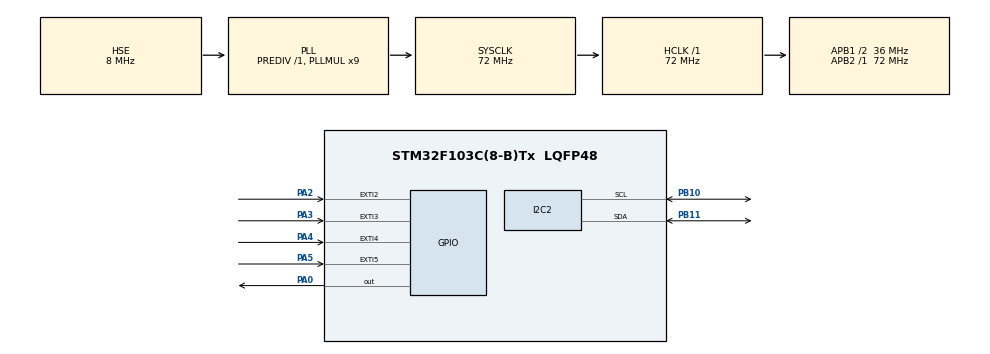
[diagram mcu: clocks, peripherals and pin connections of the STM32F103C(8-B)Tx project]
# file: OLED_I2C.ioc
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I2C2.I2C_Mode=I2C_Fast
Mcu.Family=STM32F1
Mcu.Name=STM32F103C(8-B)Tx
Mcu.Package=LQFP48
NVIC.EXTI2_IRQn=true\:2\:0\:true\:false\:true\:true\:true
NVIC.EXTI3_IRQn=true\:2\:0\:true\:false\:true\:true\:true
NVIC.EXTI4_IRQn=true\:2\:0\:true\:false\:true\:true\:true
NVIC.EXTI9_5_IRQn=true\:2\:0\:true\:false\:true\:true\:true
NVIC.PriorityGroup=NVIC_PRIORITYGROUP_4
NVIC.TIM3_IRQn=true\:3\:0\:true\:false\:true\:true\:true
PA0-WKUP.GPIO_Speed=GPIO_SPEED_FREQ_LOW
PA0-WKUP.PinState=GPIO_PIN_SET
PA0-WKUP.Signal=GPIO_Output
PA13.Mode=Serial_Wire
PA13.Signal=SYS_JTMS-SWDIO
PA14.Mode=Serial_Wire
PA14.Signal=SYS_JTCK-SWCLK
PA2.GPIO_ModeDefaultEXTI=GPIO_MODE_IT_FALLING
PA2.GPIO_PuPd=GPIO_PULLUP
PA2.Signal=GPXTI2
PA3.GPIO_ModeDefaultEXTI=GPIO_MODE_IT_FALLING
PA3.GPIO_PuPd=GPIO_PULLUP
PA3.Signal=GPXTI3
PA4.GPIO_ModeDefaultEXTI=GPIO_MODE_IT_FALLING
PA4.GPIO_PuPd=GPIO_PULLUP
PA4.Signal=GPXTI4
PA5.GPIO_ModeDefaultEXTI=GPIO_MODE_IT_FALLING
PA5.GPIO_PuPd=GPIO_PULLUP
PA5.Signal=GPXTI5
PB10.Mode=I2C
PB10.Signal=I2C2_SCL
PB11.Mode=I2C
PB11.Signal=I2C2_SDA
PD0-OSC_IN.Mode=HSE-External-Oscillator
PD0-OSC_IN.Signal=RCC_OSC_IN
PD1-OSC_OUT.Mode=HSE-External-Oscillator
PD1-OSC_OUT.Signal=RCC_OSC_OUT
ProjectManager.HeapSize=0x200
ProjectManager.StackSize=0x400
ProjectManager.TargetToolchain=MDK-ARM V5.27
RCC.AHBFreq_Value=72000000
RCC.APB1CLKDivider=RCC_HCLK_DIV2
RCC.APB1Freq_Value=36000000
RCC.APB1TimFreq_Value=72000000
RCC.APB2Freq_Value=72000000
RCC.APB2TimFreq_Value=72000000
RCC.HCLKFreq_Value=72000000
RCC.PLLMUL=RCC_PLL_MUL9
RCC.PLLSourceVirtual=RCC_PLLSOURCE_HSE
RCC.SYSCLKFreq_VALUE=72000000
RCC.SYSCLKSource=RCC_SYSCLKSOURCE_PLLCLK
RCC.USBFreq_Value=72000000
TIM3.Period=2499
TIM3.Prescaler=7199
VP_TIM3_VS_ClockSourceINT.Mode=Internal
board=custom

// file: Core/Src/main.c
/* USER CODE BEGIN Header */
/**
  ******************************************************************************
  * @file           : main.c
  * @brief          : Main program body
  ******************************************************************************
  * @attention
  *
  * <h2><center>&copy; Copyright (c) 2021 STMicroelectronics.
  * All rights reserved.</center></h2>
  *
  * This software component is licensed by ST under BSD 3-Clause license,
  * the "License"; You may not use this file except in compliance with the
  * License. You may obtain a copy of the License at:
  *                        opensource.org/licenses/BSD-3-Clause
  *
  ******************************************************************************
  */
/* USER CODE END Header */
#include "main.h"

/* USER CODE BEGIN Includes */
#include<stdio.h>
#include <stdbool.h>
#include <string.h>
#include "fonts.h"
#include "ssd1306.h"
#include "test.h"
#include "music_icon.h"
#include "flash.h"
#define ADDRESS_DATA_STORAGE (0x800FC00)  //address page 64

/* USER CODE END Includes */

I2C_HandleTypeDef hi2c2;

TIM_HandleTypeDef htim3;

void SystemClock_Config(void);
static void MX_GPIO_Init(void);
static void MX_I2C2_Init(void);
static void MX_TIM3_Init(void);
/* USER CODE BEGIN PFP */

void randomPrey();
void predatorDraw();
void predatorClear();
void preyDraw();
void preyClear();
/* System */
/* Function read and write array uint16_t */
void Flash_Write_Array_Uint16(uint32_t address, uint16_t *arr, uint16_t lenght){
	HAL_FLASH_Unlock();
	uint16_t *pt = arr;  //moi lan lay 2 byte trong arr
	for(uint16_t i=0; i<(lenght+1); i++){
		/* float = 4 bytes == word */
		HAL_FLASH_Program(FLASH_TYPEPROGRAM_HALFWORD,address + 2*i,*pt);
		pt++;  //moi lan cong dia chi pt dich 16 bit
	}
	HAL_FLASH_Lock();
}
void Flash_Read_Array_Uint16(uint32_t address, uint16_t *arr,uint16_t lenght){
	uint16_t *pt = arr;
	for(uint16_t i=0; i<(lenght+1); i++){
		*pt = *(__IO uint16_t *)(address+2*i);
		pt++;
	}
}

/* USER CODE END PFP */

/* USER CODE BEGIN 0 */

int test = 0;
/* Setup */
static uint32_t timeBellBegin=0;
static uint32_t timeCur=0;
int areaEdge_x[2]={0,128};  //diem cuc bien theo truc x
int areaEdge_y[2]={16,64};  //diem cuc bien theo truc y
int level = 1;  //mac dinh
char str_level[2];
uint8_t sound_status = 0;  // 0:OFF|1:ON
uint8_t type_setup = 0;  // 0:level | 1:sound |

/* variable user */
uint16_t user_score = 0;
char str_user_score[5];
uint8_t userStart = 0;  //0-chua bat dau|1-batdau|2-che do setup
uint8_t gameStatus = 0;  //trang thai game: 1-hoat dong|0-k hoat dong
uint16_t top_user_score[5];

/* variable predator */
int predator_x = 25;
int predator_y = 30;
uint8_t predator_direct = 1; // 1:left|2:right|3:up|4:down
uint8_t predator_mount = 0;  //1: dong mom|0: mo mom
const uint8_t predator_size = 6;
/* end variable predator */

/* variable prey */
int prey_x = 32;
int prey_y = 52;
int prey_x_arr[20]={20,5,10,50,30,70,60,80,40,90,20,100,10,50,30,70,60,80,40,90};
int prey_y_arr[20]={20,30,50,40,25,40,50,20,35,45,20,35,50,40,25,40,50,20,35,45};
/* end variable prey */

/* function general */
void showLevel(){
	SSD1306_GotoXY(72,20);
	sprintf(str_level, "%d", level);
	SSD1306_Puts(str_level,&Font_7x10,1);
	SSD1306_UpdateScreen();  //display
}

void showSoundStatus(){
	SSD1306_GotoXY(72,35);
	if(sound_status) SSD1306_Puts("ON ",&Font_7x10,1);
	else SSD1306_Puts("OFF",&Font_7x10,1);
	SSD1306_UpdateScreen();  //display
}

void initGame(){
	/* Setup GAME */
	user_score = 0;
	predator_x = 32;
	predator_y = 52;
	predator_direct = 1;
	predator_mount = 0;
	prey_x = 32;
	prey_y = 52;
	Flash_Read_Array_Uint16(ADDRESS_DATA_STORAGE, top_user_score, 5);  //get pre-score

	/* Introduce GAME */
	SSD1306_GotoXY(0,0);
	SSD1306_Puts("Predator",&Font_11x18,1);
	SSD1306_GotoXY(11,20);
	SSD1306_Puts("GAME",&Font_16x26,1);
	SSD1306_GotoXY(0,50);
	SSD1306_Puts("made by DxHwg",&Font_7x10,1);
	SSD1306_UpdateScreen();  //display
	/* Scroll */
	while(userStart==0){
		SSD1306_ScrollRight(0x00,0x0f);  //scroll entire screen
		HAL_Delay(1500);
		SSD1306_ScrollLeft(0x00,0x0f);  //scroll entire screen
		HAL_Delay(1500);
	}
	SSD1306_Stopscroll();
	SSD1306_Clear();

	/* Setup mode */
	SSD1306_GotoXY(0,0);
	SSD1306_Puts("SETUP MODE",&Font_11x18,1);
	SSD1306_GotoXY(0,20);
	SSD1306_Puts("Level: ",&Font_7x10,1);
	showLevel();
	SSD1306_GotoXY(0,35);
	SSD1306_Puts("Sound: ",&Font_7x10,1);
	showSoundStatus();
	/* Point level  */
	SSD1306_DrawFilledCircle(100,20, 2 ,1);
	SSD1306_UpdateScreen();  //display
	while(userStart==2){
		HAL_Delay(1);  //Phai co delay (Nhung k hieu tai sao)
	}  //Che do setup
	SSD1306_Clear();

	/* Init GAME */
	SSD1306_GotoXY(0,0);
	SSD1306_Puts("Score: ",&Font_11x18,1);
	SSD1306_GotoXY(72,0);
	sprintf(str_user_score, "%d", user_score);
	SSD1306_Puts(str_user_score,&Font_11x18,1);
	/* Ve duong bao */
	SSD1306_DrawLine(areaEdge_x[0], areaEdge_y[0], areaEdge_x[1],  areaEdge_y[0], 1);  //edge top
	SSD1306_DrawLine(areaEdge_x[0], areaEdge_y[0], areaEdge_x[0],  areaEdge_y[1], 1);  //edge left
	SSD1306_DrawLine(areaEdge_x[0], areaEdge_y[1], areaEdge_x[1],  areaEdge_y[1], 1);  //edge bottom
	SSD1306_DrawLine(areaEdge_x[1], areaEdge_y[0], areaEdge_x[1],  areaEdge_y[1], 1);	 //edge right
	SSD1306_UpdateScreen();  // display
	/* Game bat dau */
	gameStatus = 1;
}

void renderScreen(){
	predatorClear();
	preyClear();
	/* Show score */
	SSD1306_GotoXY(70,0);
	sprintf(str_user_score, "%d", user_score);
	SSD1306_Puts(str_user_score,&Font_11x18,1);
	SSD1306_DrawLine(0,15, 128, 15, 1);
	/* draw predator */
	predatorDraw();
	/* draw prey */
	preyDraw();
	SSD1306_UpdateScreen();  //display
}

void sortUserScore(){
	if(user_score>top_user_score[0]){
		for(int i=1;i<5;i++){
			top_user_score[i]=top_user_score[i-1];
		}
		top_user_score[0]=user_score;
	}else if(user_score>top_user_score[1]){
		for(int i=2;i<5;i++){
			top_user_score[i]=top_user_score[i-1];
		}
		top_user_score[1]=user_score;
	}else if(user_score>top_user_score[2]){
		for(int i=3;i<5;i++){
			top_user_score[i]=top_user_score[i-1];
		}
		top_user_score[2]=user_score;
	}else if(user_score>top_user_score[3]){
		for(int i=4;i<5;i++){
			top_user_score[i]=top_user_score[i-1];
		}
		top_user_score[3]=user_score;
	}else if(user_score>top_user_score[4]){
		top_user_score[4]=user_score;
	}
}

void gameOver(){
	/* Hieu ung va thong bao game over */
	SSD1306_Clear();
	SSD1306_GotoXY(0,0);
	SSD1306_Puts("Score: ",&Font_11x18,1);
	SSD1306_GotoXY(72,0);
	sprintf(str_user_score, "%d", user_score);
	SSD1306_Puts(str_user_score,&Font_11x18,1);

	SSD1306_GotoXY(11,16);
	SSD1306_Puts("GAME",&Font_11x18,1);
	SSD1306_GotoXY(11,38);
	SSD1306_Puts("OVER",&Font_11x18,1);
	SSD1306_UpdateScreen();  //display

	sortUserScore();  //sap xep score user
	Flash_Write_Array_Uint16(ADDRESS_DATA_STORAGE,top_user_score,5);  //luu vao flash
	HAL_Delay(3000);
	SSD1306_Clear();

	/* Hien thi top user */
	SSD1306_GotoXY(0,0);
	SSD1306_Puts("Top score: ",&Font_11x18,1);
	for(int i=0; i<5;i++){
		SSD1306_GotoXY(0,18+10*i+1);
		sprintf(str_user_score, "%d", i+1);
		SSD1306_Puts(str_user_score,&Font_7x10,1);
		SSD1306_Puts("->",&Font_7x10,1);
		SSD1306_GotoXY(15,18+10*i+1);
		sprintf(str_user_score, "%d", (int)top_user_score[i]);
		SSD1306_Puts(str_user_score,&Font_7x10,1);
	}
	SSD1306_UpdateScreen();  //display
	HAL_Delay(5000);
	SSD1306_Clear();

	/* game ket thuc */
	gameStatus = 0;
	userStart = 0;
	user_score = 0;
	/* Khoi tao lai game */
	initGame();
}

/* Use bell:
	bellTingTing();
*/
void bellTingTing(){
	timeCur= HAL_GetTick();
	timeBellBegin = timeCur;
	HAL_GPIO_WritePin(GPIOA, GPIO_PIN_0,GPIO_PIN_RESET);  //turn on
}
void bellTingTingWait(){
	timeCur= HAL_GetTick();
	if((timeCur-timeBellBegin)>=300) HAL_GPIO_WritePin(GPIOA, GPIO_PIN_0,GPIO_PIN_SET);  //turn off
}

/* Change period TIM3 */
static void changePeriodTIM3(int t)
{
  TIM_ClockConfigTypeDef sClockSourceConfig = {0};
  TIM_MasterConfigTypeDef sMasterConfig = {0};

  htim3.Instance = TIM3;
  htim3.Init.Prescaler = 7199;
  htim3.Init.CounterMode = TIM_COUNTERMODE_UP;
  htim3.Init.Period = t;
  htim3.Init.ClockDivision = TIM_CLOCKDIVISION_DIV1;
  htim3.Init.AutoReloadPreload = TIM_AUTORELOAD_PRELOAD_DISABLE;
  if (HAL_TIM_Base_Init(&htim3) != HAL_OK)
  {
    Error_Handler();
  }
  sClockSourceConfig.ClockSource = TIM_CLOCKSOURCE_INTERNAL;
  if (HAL_TIM_ConfigClockSource(&htim3, &sClockSourceConfig) != HAL_OK)
  {
    Error_Handler();
  }
  sMasterConfig.MasterOutputTrigger = TIM_TRGO_RESET;
  sMasterConfig.MasterSlaveMode = TIM_MASTERSLAVEMODE_DISABLE;
  if (HAL_TIMEx_MasterConfigSynchronization(&htim3, &sMasterConfig) != HAL_OK)
  {
    Error_Handler();
  }
}

/* Setup Plus */
void setupPlus(){  //button left
	if(type_setup==0) {
		/* level */
		if(level==5) {
				level=1;
				showLevel();
			}
		else {
			level++;
			showLevel();
		}
		changePeriodTIM3(2499-level*400);
	}
	else if(type_setup==1) {
		/* sound */
		sound_status = 1-sound_status;
		showSoundStatus();
	}
}
void setupReduce(){  //button right
	if(type_setup==0) {
		/* level */
		if(level==0) {
				level=5;
				showLevel();
			}
		else {
			level--;
			showLevel();
		}
		changePeriodTIM3(2499-level*400);
	}
	else if(type_setup==1) {
		/* sound */
		sound_status = 1-sound_status;
		showSoundStatus();
	}
}
void changeSetupType(){  //button down
	if(type_setup==0) {
		type_setup=1;
		/* clear Point level  */
		SSD1306_DrawFilledCircle(100,20, 2 ,0);
		/* Point sound */
		SSD1306_DrawFilledCircle(100,35, 2 ,1);
	}
	else if(type_setup==1) {
		type_setup=0;
		/* clear Point sound */
		SSD1306_DrawFilledCircle(100,35, 2 ,0);
		/* Point level  */
		SSD1306_DrawFilledCircle(100,20, 2 ,1);
	}
	SSD1306_UpdateScreen();  //display
}

/* end function general */

/* function prey */
void preyDraw(){
	/* draw prey */
	SSD1306_DrawFilledCircle(prey_x,prey_y, 1 ,1);
}

void preyClear(){
	/* draw prey */
	SSD1306_DrawFilledCircle(prey_x,prey_y, 1 ,0);
}

void randomPrey(){
	preyClear();  //clear truoc khi random
	prey_x = prey_x_arr[user_score];
	prey_y = prey_y_arr[user_score];
}

/* end function prey */

/* function predator */
void  predatorDraw(){
	if(predator_direct == 1){
		/* Left */
		/* Phan than */
		SSD1306_DrawFilledRectangle(predator_x-predator_size/2, predator_y-predator_size/2, predator_size, predator_size, 1);
		/* Phan mom */
		SSD1306_DrawLine(predator_x-predator_size/2, predator_y-1, predator_x,  predator_y-1, predator_mount);
		SSD1306_DrawLine(predator_x-predator_size/2, predator_y, predator_x,  predator_y, predator_mount);
		SSD1306_DrawLine(predator_x-predator_size/2, predator_y+1, predator_x,  predator_y+1, predator_mount);
		SSD1306_DrawLine(predator_x-predator_size/2, predator_y+2, predator_x,  predator_y+2, predator_mount);
	}else if(predator_direct == 2){
		/* Right */
		/* Phan than */
		SSD1306_DrawFilledRectangle(predator_x-predator_size/2, predator_y-predator_size/2, predator_size, predator_size, 1);
		/* Phan mom */
		SSD1306_DrawLine(predator_x, predator_y-1, predator_x+predator_size/2,  predator_y-1, predator_mount);
		SSD1306_DrawLine(predator_x, predator_y, predator_x+predator_size/2,  predator_y, predator_mount);
		SSD1306_DrawLine(predator_x, predator_y+1, predator_x+predator_size/2,  predator_y+1, predator_mount);
		SSD1306_DrawLine(predator_x, predator_y+2, predator_x+predator_size/2,  predator_y+2, predator_mount);
	}else if(predator_direct == 3){
		/* Up */
		/* Phan than */
		SSD1306_DrawFilledRectangle(predator_x-predator_size/2, predator_y-predator_size/2, predator_size, predator_size, 1);
		/* Phan mom */
		SSD1306_DrawLine(predator_x-1, predator_y, predator_x-1,  predator_y-predator_size/2, predator_mount);
		SSD1306_DrawLine(predator_x, predator_y, predator_x,  predator_y-predator_size/2, predator_mount);
		SSD1306_DrawLine(predator_x+1, predator_y, predator_x+1,  predator_y-predator_size/2, predator_mount);
		SSD1306_DrawLine(predator_x+2, predator_y, predator_x+2,  predator_y-predator_size/2, predator_mount);
	}else if(predator_direct == 4){
		/* Down */
		/* Phan than */
		SSD1306_DrawFilledRectangle(predator_x-predator_size/2, predator_y-predator_size/2, predator_size, predator_size, 1);
		/* Phan mom */
		SSD1306_DrawLine(predator_x-1, predator_y, predator_x-1,  predator_y+predator_size/2, predator_mount);
		SSD1306_DrawLine(predator_x, predator_y, predator_x,  predator_y+predator_size/2, predator_mount);
		SSD1306_DrawLine(predator_x+1, predator_y, predator_x+1,  predator_y+predator_size/2, predator_mount);
		SSD1306_DrawLine(predator_x+2, predator_y, predator_x+2,  predator_y+predator_size/2, predator_mount);
	}
}

void  predatorClear(){
	SSD1306_DrawFilledRectangle(predator_x-predator_size/2, predator_y-predator_size/2, predator_size, predator_size, 0);
}

void  predatorMove(){
	predatorClear();  //truoc khi di chuyen phai xoa di da
	if(predator_direct == 1){
		/* Left */
		predator_x--;
	}else if(predator_direct == 2){
		/* Right */
		predator_x++;
	}else if(predator_direct == 3){
		/* Right */
		predator_y--;
	}else if(predator_direct == 4){
		/* Down */
		predator_y++;
	}
}

void toggleMount(){
	predator_mount = 1-predator_mount;
}

/* Kiem tra vuot bien */
bool checkAcrossEdge(){
	if((predator_x==areaEdge_x[0])||(predator_x==areaEdge_x[1])||(predator_y==areaEdge_y[0])||(predator_y==areaEdge_y[1])){
		return true;
	}
	return false;
}

/* Check xem predator da eat prey chua? */
bool checkEating(){
	int delta_x = predator_x-prey_x;
	int delta_y = predator_y-prey_y;
	if(predator_direct == 1){
		/* Left */
		if(delta_x<=2){
			if((delta_y>=-2)&&(delta_y<=2)){
				return true;
			}else return false;
		}else return false;
	}else if(predator_direct == 2){
		/* Right */
		if(delta_x>=-2){
			if((delta_y<=2)&&(delta_y>=-2)){
				return true;
			}else return false;
		}else return false;
	}else if(predator_direct == 3){
		/* Up */
		if(delta_y<=2){
			if((delta_x>=-2)&&(delta_x<=2)){
				return true;
			}else return false;
		}else return false;
	}else if(predator_direct == 4){
		/* Down */
		if(delta_y>=-2){
			if((delta_x>=-2)&&(delta_x<=2)){
				return true;
			}else return false;
		}else return false;
	}else return false;
}
/* end function predator */

/* Ngat ngoai: ok */
void HAL_GPIO_EXTI_Callback(uint16_t GPIO_Pin)
{
  UNUSED(GPIO_Pin);
	if(userStart==0) {
		userStart=2;  //che do setup
	}else if(userStart==2) {  //setup xong
		if(GPIO_Pin == GPIO_PIN_2){
			/* Left - Plus */
			setupPlus();
		}else if(GPIO_Pin == GPIO_PIN_3){
			/* Right - Reduce */
			setupReduce();
		}else if(GPIO_Pin == GPIO_PIN_4){
			/* Up - OK */
			userStart=1; //cho game bat dau
		}else if(GPIO_Pin == GPIO_PIN_5){
			/* Down - change type setup */
			changeSetupType();
		}
	}else if(userStart==1) {
		if(GPIO_Pin == GPIO_PIN_2){
			/* Left */
			predator_direct = 1;
		}else if(GPIO_Pin == GPIO_PIN_3){
			/* Right */
			predator_direct = 2;
		}else if(GPIO_Pin == GPIO_PIN_4){
			/* Up */
			predator_direct = 3;
		}else if(GPIO_Pin == GPIO_PIN_5){
			/* Down */
			predator_direct = 4;
		}
	}
}
/* end ngat ngoai */

/* Ngat timer */
void HAL_TIM_PeriodElapsedCallback(TIM_HandleTypeDef *htim){
	UNUSED(htim);
	if(htim->Instance == htim3.Instance){
		/* Neu da bat dau */
		if(gameStatus){
			toggleMount();
			predatorMove();
			/* Kiem tra xem da vuot qua cuc bien chua? */
			if(checkAcrossEdge()){
				/* Neu da vuot qua bien */
				gameOver();
			}else{
				/* Kiem tra xem prey da bi eat chua? */
				if(checkEating()){
					/* Neu da bi eat */
					user_score++;  //tang score
					bellTingTing();  //ting ting bell
					randomPrey();
				}
				renderScreen();
			}
		}
	}
}
/* end ngat timer */

/* USER CODE END 0 */

int main(void)
{

  /* MCU Configuration--------------------------------------------------------*/

  /* Reset of all peripherals, Initializes the Flash interface and the Systick. */
  HAL_Init();

  /* Configure the system clock */
  SystemClock_Config();

  /* Initialize all configured peripherals */
  MX_GPIO_Init();
  MX_I2C2_Init();
  MX_TIM3_Init();
  /* USER CODE BEGIN 2 */

	/* Start IT */
	HAL_TIM_Base_Start_IT(&htim3);
	/* Init LCD */
	SSD1306_Init();
	initGame();
	renderScreen();

  /* USER CODE END 2 */

  /* Infinite loop */
  while (1)
  {

    /* USER CODE BEGIN 3 */

		/* Setup timeout bell */
		bellTingTingWait();
  }
  /* USER CODE END 3 */
}

void SystemClock_Config(void)
{
  RCC_OscInitTypeDef RCC_OscInitStruct = {0};
  RCC_ClkInitTypeDef RCC_ClkInitStruct = {0};

  /** Initializes the RCC Oscillators according to the specified parameters
  * in the RCC_OscInitTypeDef structure.
  */
  RCC_OscInitStruct.OscillatorType = RCC_OSCILLATORTYPE_HSE;
  RCC_OscInitStruct.HSEState = RCC_HSE_ON;
  RCC_OscInitStruct.HSEPredivValue = RCC_HSE_PREDIV_DIV1;
  RCC_OscInitStruct.HSIState = RCC_HSI_ON;
  RCC_OscInitStruct.PLL.PLLState = RCC_PLL_ON;
  RCC_OscInitStruct.PLL.PLLSource = RCC_PLLSOURCE_HSE;
  RCC_OscInitStruct.PLL.PLLMUL = RCC_PLL_MUL9;
  if (HAL_RCC_OscConfig(&RCC_OscInitStruct) != HAL_OK)
  {
    Error_Handler();
  }
  /** Initializes the CPU, AHB and APB buses clocks
  */
  RCC_ClkInitStruct.ClockType = RCC_CLOCKTYPE_HCLK|RCC_CLOCKTYPE_SYSCLK
                              |RCC_CLOCKTYPE_PCLK1|RCC_CLOCKTYPE_PCLK2;
  RCC_ClkInitStruct.SYSCLKSource = RCC_SYSCLKSOURCE_PLLCLK;
  RCC_ClkInitStruct.AHBCLKDivider = RCC_SYSCLK_DIV1;
  RCC_ClkInitStruct.APB1CLKDivider = RCC_HCLK_DIV2;
  RCC_ClkInitStruct.APB2CLKDivider = RCC_HCLK_DIV1;

  if (HAL_RCC_ClockConfig(&RCC_ClkInitStruct, FLASH_LATENCY_2) != HAL_OK)
  {
    Error_Handler();
  }
}

static void MX_I2C2_Init(void)
{

  hi2c2.Instance = I2C2;
  hi2c2.Init.ClockSpeed = 400000;
  hi2c2.Init.DutyCycle = I2C_DUTYCYCLE_2;
  hi2c2.Init.OwnAddress1 = 0;
  hi2c2.Init.AddressingMode = I2C_ADDRESSINGMODE_7BIT;
  hi2c2.Init.DualAddressMode = I2C_DUALADDRESS_DISABLE;
  hi2c2.Init.OwnAddress2 = 0;
  hi2c2.Init.GeneralCallMode = I2C_GENERALCALL_DISABLE;
  hi2c2.Init.NoStretchMode = I2C_NOSTRETCH_DISABLE;
  if (HAL_I2C_Init(&hi2c2) != HAL_OK)
  {
    Error_Handler();
  }

}

static void MX_TIM3_Init(void)
{

  TIM_ClockConfigTypeDef sClockSourceConfig = {0};
  TIM_MasterConfigTypeDef sMasterConfig = {0};

  htim3.Instance = TIM3;
  htim3.Init.Prescaler = 7199;
  htim3.Init.CounterMode = TIM_COUNTERMODE_UP;
  htim3.Init.Period = 2499;
  htim3.Init.ClockDivision = TIM_CLOCKDIVISION_DIV1;
  htim3.Init.AutoReloadPreload = TIM_AUTORELOAD_PRELOAD_DISABLE;
  if (HAL_TIM_Base_Init(&htim3) != HAL_OK)
  {
    Error_Handler();
  }
  sClockSourceConfig.ClockSource = TIM_CLOCKSOURCE_INTERNAL;
  if (HAL_TIM_ConfigClockSource(&htim3, &sClockSourceConfig) != HAL_OK)
  {
    Error_Handler();
  }
  sMasterConfig.MasterOutputTrigger = TIM_TRGO_RESET;
  sMasterConfig.MasterSlaveMode = TIM_MASTERSLAVEMODE_DISABLE;
  if (HAL_TIMEx_MasterConfigSynchronization(&htim3, &sMasterConfig) != HAL_OK)
  {
    Error_Handler();
  }

}

static void MX_GPIO_Init(void)
{
  GPIO_InitTypeDef GPIO_InitStruct = {0};

  /* GPIO Ports Clock Enable */
  __HAL_RCC_GPIOD_CLK_ENABLE();
  __HAL_RCC_GPIOA_CLK_ENABLE();
  __HAL_RCC_GPIOB_CLK_ENABLE();

  /*Configure GPIO pin Output Level */
  HAL_GPIO_WritePin(GPIOA, GPIO_PIN_0, GPIO_PIN_SET);

  /*Configure GPIO pin : PA0 */
  GPIO_InitStruct.Pin = GPIO_PIN_0;
  GPIO_InitStruct.Mode = GPIO_MODE_OUTPUT_PP;
  GPIO_InitStruct.Pull = GPIO_NOPULL;
  GPIO_InitStruct.Speed = GPIO_SPEED_FREQ_LOW;
  HAL_GPIO_Init(GPIOA, &GPIO_InitStruct);

  /*Configure GPIO pins : PA2 PA3 PA4 PA5 */
  GPIO_InitStruct.Pin = GPIO_PIN_2|GPIO_PIN_3|GPIO_PIN_4|GPIO_PIN_5;
  GPIO_InitStruct.Mode = GPIO_MODE_IT_FALLING;
  GPIO_InitStruct.Pull = GPIO_PULLUP;
  HAL_GPIO_Init(GPIOA, &GPIO_InitStruct);

  /* EXTI interrupt init*/
  HAL_NVIC_SetPriority(EXTI2_IRQn, 2, 0);
  HAL_NVIC_EnableIRQ(EXTI2_IRQn);

  HAL_NVIC_SetPriority(EXTI3_IRQn, 2, 0);
  HAL_NVIC_EnableIRQ(EXTI3_IRQn);

  HAL_NVIC_SetPriority(EXTI4_IRQn, 2, 0);
  HAL_NVIC_EnableIRQ(EXTI4_IRQn);

  HAL_NVIC_SetPriority(EXTI9_5_IRQn, 2, 0);
  HAL_NVIC_EnableIRQ(EXTI9_5_IRQn);

}

void Error_Handler(void)
{
}

/************************ (C) COPYRIGHT STMicroelectronics *****END OF FILE****/
